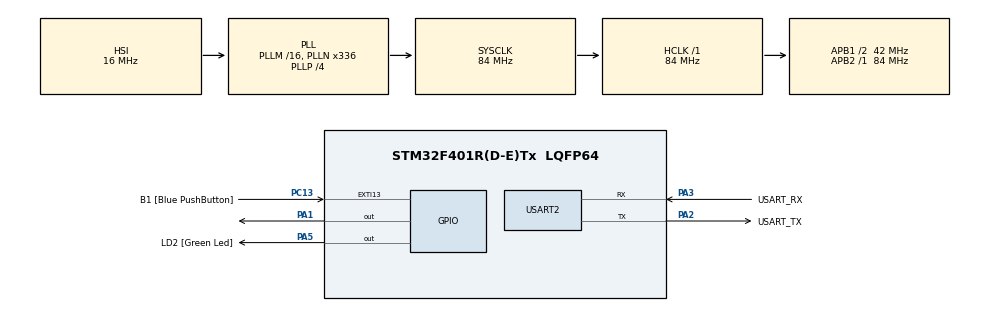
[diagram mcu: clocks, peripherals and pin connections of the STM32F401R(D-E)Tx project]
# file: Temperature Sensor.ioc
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Mcu.Family=STM32F4
Mcu.Name=STM32F401R(D-E)Tx
Mcu.Package=LQFP64
NVIC.PriorityGroup=NVIC_PRIORITYGROUP_0
PA1.Signal=GPIO_Output
PA13.GPIO_Label=TMS
PA13.Mode=Serial_Wire
PA13.Signal=SYS_JTMS-SWDIO
PA14.GPIO_Label=TCK
PA14.Mode=Serial_Wire
PA14.Signal=SYS_JTCK-SWCLK
PA2.GPIO_Label=USART_TX
PA2.GPIO_Mode=GPIO_MODE_AF_PP
PA2.GPIO_PuPd=GPIO_NOPULL
PA2.GPIO_Speed=GPIO_SPEED_FREQ_LOW
PA2.Mode=Asynchronous
PA2.Signal=USART2_TX
PA3.GPIO_Label=USART_RX
PA3.GPIO_Mode=GPIO_MODE_AF_PP
PA3.GPIO_PuPd=GPIO_NOPULL
PA3.GPIO_Speed=GPIO_SPEED_FREQ_LOW
PA3.Mode=Asynchronous
PA3.Signal=USART2_RX
PA5.GPIO_Label=LD2 [Green Led]
PA5.GPIO_Mode=GPIO_MODE_OUTPUT_PP
PA5.GPIO_PuPd=GPIO_NOPULL
PA5.GPIO_Speed=GPIO_SPEED_FREQ_LOW
PA5.Signal=GPIO_Output
PB3.GPIO_Label=SWO
PB3.Signal=SYS_JTDO-SWO
PC13-ANTI_TAMP.GPIO_Label=B1 [Blue PushButton]
PC13-ANTI_TAMP.GPIO_ModeDefaultEXTI=GPIO_MODE_IT_FALLING
PC13-ANTI_TAMP.GPIO_PuPd=GPIO_NOPULL
PC13-ANTI_TAMP.Signal=GPXTI13
PC14-OSC32_IN.Mode=LSE-External-Oscillator
PC14-OSC32_IN.Signal=RCC_OSC32_IN
PC15-OSC32_OUT.Mode=LSE-External-Oscillator
PC15-OSC32_OUT.Signal=RCC_OSC32_OUT
PH0\ -\ OSC_IN.Mode=HSE-External-Clock-Source
PH0\ -\ OSC_IN.Signal=RCC_OSC_IN
PH1\ -\ OSC_OUT.Mode=HSE-External-Clock-Source
PH1\ -\ OSC_OUT.Signal=RCC_OSC_OUT
ProjectManager.HeapSize=0x200
ProjectManager.StackSize=0x400
ProjectManager.TargetToolchain=STM32CubeIDE
RCC.48MHZClocksFreq_Value=48000000
RCC.AHBFreq_Value=84000000
RCC.APB1CLKDivider=RCC_HCLK_DIV2
RCC.APB1Freq_Value=42000000
RCC.APB1TimFreq_Value=84000000
RCC.APB2Freq_Value=84000000
RCC.APB2TimFreq_Value=84000000
RCC.CortexFreq_Value=84000000
RCC.HCLKFreq_Value=84000000
RCC.HSE_VALUE=8000000
RCC.HSI_VALUE=16000000
RCC.PLLN=336
RCC.PLLP=RCC_PLLP_DIV4
RCC.PLLQ=7
RCC.SYSCLKFreq_VALUE=84000000
RCC.SYSCLKSource=RCC_SYSCLKSOURCE_PLLCLK
RCC.VCOOutputFreq_Value=336000000
TIM2.Period=0xffffffff
TIM2.Prescaler=83
USART2.VirtualMode=VM_ASYNC
VP_TIM2_VS_ClockSourceINT.Mode=Internal
board=NUCLEO-F401RE

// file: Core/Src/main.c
/* USER CODE BEGIN Header */
/**
  ******************************************************************************
  * @file           : main.c
  * @brief          : Main program body
  ******************************************************************************
  * @attention
  *
  * Copyright (c) 2024 STMicroelectronics.
  * All rights reserved.
  *
  * This software is licensed under terms that can be found in the LICENSE file
  * in the root directory of this software component.
  * If no LICENSE file comes with this software, it is provided AS-IS.
  *
  ******************************************************************************
  */
/* USER CODE END Header */
#include "main.h"

TIM_HandleTypeDef htim2;

UART_HandleTypeDef huart2;

void SystemClock_Config(void);
static void MX_GPIO_Init(void);
static void MX_USART2_UART_Init(void);
static void MX_TIM2_Init(void);

int main(void)
{

  /* MCU Configuration--------------------------------------------------------*/

  /* Reset of all peripherals, Initializes the Flash interface and the Systick. */
  HAL_Init();

  /* Configure the system clock */
  SystemClock_Config();

  /* Initialize all configured peripherals */
  MX_GPIO_Init();
  MX_USART2_UART_Init();
  MX_TIM2_Init();

  /* Infinite loop */
  /* USER CODE BEGIN WHILE */
  while (1)
  {
  /* Read temperature from DS18B20 sensor */
	  float temperature = DS18B20_GetTemp();

	  /* Send temperature data via UART */
	  char buffer[50];
	  int len = snprintf(buffer, sizeof(buffer), "Temperature: %.2f °C\r\n", temperature);
	  HAL_UART_Transmit(&huart2, (uint8_t*)buffer, len, HAL_MAX_DELAY);

	  /* Add a delay to avoid flooding the UART */
	  HAL_Delay(1000); // 1-second delay
    /* USER CODE END WHILE */

  }
}

void SystemClock_Config(void)
{
  RCC_OscInitTypeDef RCC_OscInitStruct = {0};
  RCC_ClkInitTypeDef RCC_ClkInitStruct = {0};

  /** Configure the main internal regulator output voltage
  */
  __HAL_RCC_PWR_CLK_ENABLE();
  __HAL_PWR_VOLTAGESCALING_CONFIG(PWR_REGULATOR_VOLTAGE_SCALE2);

  /** Initializes the RCC Oscillators according to the specified parameters
  * in the RCC_OscInitTypeDef structure.
  */
  RCC_OscInitStruct.OscillatorType = RCC_OSCILLATORTYPE_HSI;
  RCC_OscInitStruct.HSIState = RCC_HSI_ON;
  RCC_OscInitStruct.HSICalibrationValue = RCC_HSICALIBRATION_DEFAULT;
  RCC_OscInitStruct.PLL.PLLState = RCC_PLL_ON;
  RCC_OscInitStruct.PLL.PLLSource = RCC_PLLSOURCE_HSI;
  RCC_OscInitStruct.PLL.PLLM = 16;
  RCC_OscInitStruct.PLL.PLLN = 336;
  RCC_OscInitStruct.PLL.PLLP = RCC_PLLP_DIV4;
  RCC_OscInitStruct.PLL.PLLQ = 7;
  if (HAL_RCC_OscConfig(&RCC_OscInitStruct) != HAL_OK)
  {
    Error_Handler();
  }

  /** Initializes the CPU, AHB and APB buses clocks
  */
  RCC_ClkInitStruct.ClockType = RCC_CLOCKTYPE_HCLK|RCC_CLOCKTYPE_SYSCLK
                              |RCC_CLOCKTYPE_PCLK1|RCC_CLOCKTYPE_PCLK2;
  RCC_ClkInitStruct.SYSCLKSource = RCC_SYSCLKSOURCE_PLLCLK;
  RCC_ClkInitStruct.AHBCLKDivider = RCC_SYSCLK_DIV1;
  RCC_ClkInitStruct.APB1CLKDivider = RCC_HCLK_DIV2;
  RCC_ClkInitStruct.APB2CLKDivider = RCC_HCLK_DIV1;

  if (HAL_RCC_ClockConfig(&RCC_ClkInitStruct, FLASH_LATENCY_2) != HAL_OK)
  {
    Error_Handler();
  }
}

static void MX_TIM2_Init(void)
{

  TIM_ClockConfigTypeDef sClockSourceConfig = {0};
  TIM_MasterConfigTypeDef sMasterConfig = {0};

  htim2.Instance = TIM2;
  htim2.Init.Prescaler = 83;
  htim2.Init.CounterMode = TIM_COUNTERMODE_UP;
  htim2.Init.Period = 0xffffffff;
  htim2.Init.ClockDivision = TIM_CLOCKDIVISION_DIV1;
  htim2.Init.AutoReloadPreload = TIM_AUTORELOAD_PRELOAD_DISABLE;
  if (HAL_TIM_Base_Init(&htim2) != HAL_OK)
  {
    Error_Handler();
  }
  sClockSourceConfig.ClockSource = TIM_CLOCKSOURCE_INTERNAL;
  if (HAL_TIM_ConfigClockSource(&htim2, &sClockSourceConfig) != HAL_OK)
  {
    Error_Handler();
  }
  sMasterConfig.MasterOutputTrigger = TIM_TRGO_RESET;
  sMasterConfig.MasterSlaveMode = TIM_MASTERSLAVEMODE_DISABLE;
  if (HAL_TIMEx_MasterConfigSynchronization(&htim2, &sMasterConfig) != HAL_OK)
  {
    Error_Handler();
  }

}

static void MX_USART2_UART_Init(void)
{

  huart2.Instance = USART2;
  huart2.Init.BaudRate = 115200;
  huart2.Init.WordLength = UART_WORDLENGTH_8B;
  huart2.Init.StopBits = UART_STOPBITS_1;
  huart2.Init.Parity = UART_PARITY_NONE;
  huart2.Init.Mode = UART_MODE_TX_RX;
  huart2.Init.HwFlowCtl = UART_HWCONTROL_NONE;
  huart2.Init.OverSampling = UART_OVERSAMPLING_16;
  if (HAL_UART_Init(&huart2) != HAL_OK)
  {
    Error_Handler();
  }

}

static void MX_GPIO_Init(void)
{
  GPIO_InitTypeDef GPIO_InitStruct = {0};
/* USER CODE BEGIN MX_GPIO_Init_1 */
  GPIO_InitStruct.Pin = GPIO_PIN_1;
  GPIO_InitStruct.Mode = GPIO_MODE_OUTPUT_PP;
  GPIO_InitStruct.Pull = GPIO_NOPULL;
  GPIO_InitStruct.Speed = GPIO_SPEED_FREQ_LOW;
  HAL_GPIO_Init(GPIOA, &GPIO_InitStruct);

/* USER CODE END MX_GPIO_Init_1 */

  /* GPIO Ports Clock Enable */
  __HAL_RCC_GPIOC_CLK_ENABLE();
  __HAL_RCC_GPIOH_CLK_ENABLE();
  __HAL_RCC_GPIOA_CLK_ENABLE();
  __HAL_RCC_GPIOB_CLK_ENABLE();

  /*Configure GPIO pin Output Level */
  HAL_GPIO_WritePin(GPIOA, GPIO_PIN_1|LD2_Pin, GPIO_PIN_RESET);

  /*Configure GPIO pin : B1_Pin */
  GPIO_InitStruct.Pin = B1_Pin;
  GPIO_InitStruct.Mode = GPIO_MODE_IT_FALLING;
  GPIO_InitStruct.Pull = GPIO_NOPULL;
  HAL_GPIO_Init(B1_GPIO_Port, &GPIO_InitStruct);

  /*Configure GPIO pins : PA1 LD2_Pin */
  GPIO_InitStruct.Pin = GPIO_PIN_1|LD2_Pin;
  GPIO_InitStruct.Mode = GPIO_MODE_OUTPUT_PP;
  GPIO_InitStruct.Pull = GPIO_NOPULL;
  GPIO_InitStruct.Speed = GPIO_SPEED_FREQ_LOW;
  HAL_GPIO_Init(GPIOA, &GPIO_InitStruct);

}

/* USER CODE BEGIN 4 */
#define DS18B20_PORT GPIOA
#define DS18B20_PIN GPIO_PIN_1

void delay_us(uint16_t time) {
    __HAL_TIM_SET_COUNTER(&htim2, 0);
    while (__HAL_TIM_GET_COUNTER(&htim2) < time);
}

void set_pin_output(GPIO_TypeDef *GPIOx, uint16_t GPIO_Pin) {
    GPIO_InitTypeDef GPIO_InitStruct = {0};
    GPIO_InitStruct.Pin = GPIO_Pin;
    GPIO_InitStruct.Mode = GPIO_MODE_OUTPUT_PP;
    GPIO_InitStruct.Pull = GPIO_NOPULL;
    GPIO_InitStruct.Speed = GPIO_SPEED_FREQ_LOW;
    HAL_GPIO_Init(GPIOx, &GPIO_InitStruct);
}

void set_pin_input(GPIO_TypeDef *GPIOx, uint16_t GPIO_Pin) {
    GPIO_InitTypeDef GPIO_InitStruct = {0};
    GPIO_InitStruct.Pin = GPIO_Pin;
    GPIO_InitStruct.Mode = GPIO_MODE_INPUT;
    GPIO_InitStruct.Pull = GPIO_NOPULL;
    HAL_GPIO_Init(GPIOx, &GPIO_InitStruct);
}

uint8_t DS18B20_Start(void) {
    uint8_t response = 0;
    set_pin_output(DS18B20_PORT, DS18B20_PIN);
    HAL_GPIO_WritePin(DS18B20_PORT, DS18B20_PIN, GPIO_PIN_RESET);
    delay_us(480);
    set_pin_input(DS18B20_PORT, DS18B20_PIN);
    delay_us(80);
    if (!HAL_GPIO_ReadPin(DS18B20_PORT, DS18B20_PIN)) response = 1;
    delay_us(400);
    return response;
}

void DS18B20_Write(uint8_t data) {
    set_pin_output(DS18B20_PORT, DS18B20_PIN);
    for (int i = 0; i < 8; i++) {
        HAL_GPIO_WritePin(DS18B20_PORT, DS18B20_PIN, (data & (1 << i)) ? GPIO_PIN_SET : GPIO_PIN_RESET);
        delay_us(60);
    }
}

uint8_t DS18B20_Read(void) {
    uint8_t value = 0;
    set_pin_input(DS18B20_PORT, DS18B20_PIN);
    for (int i = 0; i < 8; i++) {
        set_pin_output(DS18B20_PORT, DS18B20_PIN);
        HAL_GPIO_WritePin(DS18B20_PORT, DS18B20_PIN, GPIO_PIN_RESET);
        delay_us(2);
        set_pin_input(DS18B20_PORT, DS18B20_PIN);
        if (HAL_GPIO_ReadPin(DS18B20_PORT, DS18B20_PIN)) value |= (1 << i);
        delay_us(60);
    }
    return value;
}
float DS18B20_GetTemp(void) {
    uint8_t temp_LSB, temp_MSB;
    int16_t temp;

    DS18B20_Start();
    DS18B20_Write(0xCC); // Skip ROM
    DS18B20_Write(0x44); // Convert T command
    HAL_Delay(750); // Wait for conversion

    DS18B20_Start();
    DS18B20_Write(0xCC); // Skip ROM
    DS18B20_Write(0xBE); // Read Scratchpad

    temp_LSB = DS18B20_Read();
    temp_MSB = DS18B20_Read();
    temp = (temp_MSB << 8) | temp_LSB;
    return (float)temp / 16.0;
}

/* USER CODE END 4 */

void Error_Handler(void)
{
  __disable_irq();
  while (1)
  {
  }
}
